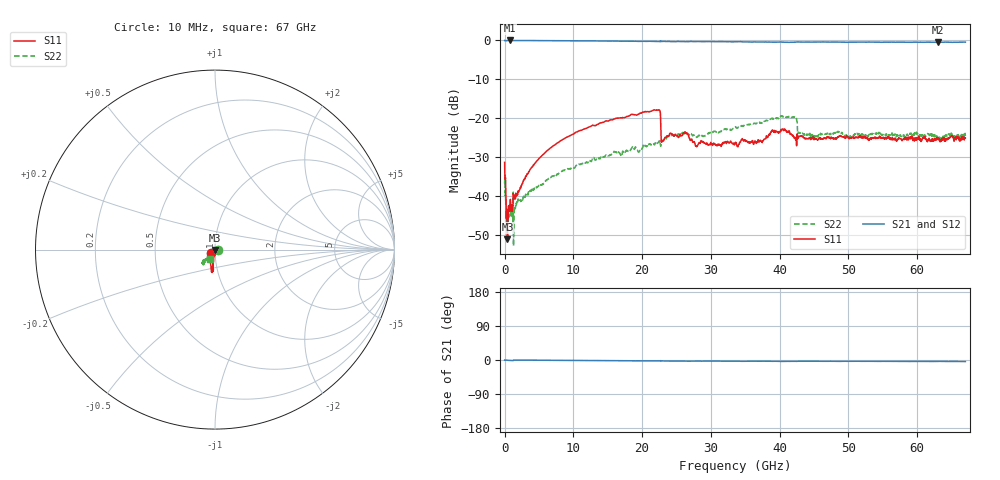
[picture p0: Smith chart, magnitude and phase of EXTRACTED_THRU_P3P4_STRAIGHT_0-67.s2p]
! Generated by Phase I extraction
# Hz S RI R 50
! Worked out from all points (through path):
!   1601 points, 10 MHz to 67 GHz, reference 50 ohm
!   highest |S21| = -0.01 dB at 847.4 MHz (marker M1); lowest = -0.5 dB at 63.06 GHz (marker M2)
!   lowest |S11| = -51.2 dB at 428.7 MHz (marker M3), VSWR 1.01, Z = 49.8 - j0.158 ohm
!   |S11| at or under -10 dB: start of sweep to end of sweep
!   |S22| runs from -52.9 to -19.4 dB; largest |S21 - S12| = 0.024
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1e7  -0.0211 -0.0168  0.9976 -0.00582  0.9942 0.0121  0.0142 -0.00225
4.286875e8  -0.00226 -0.00159  0.9977 -0.0108  0.9971 -0.000881  -0.00217 -0.00405
5.961625e8  -0.00648 -0.0035  0.9978 -0.0144  0.9977 -0.00164  -0.00469 -0.00464
8.47375e8  -0.00778 -0.00455  0.9984 -0.0198  0.9988 -0.00286  -0.00578 -0.00439
1.266062e9  -0.00677 -0.00834  0.9969 -0.0243  0.9959 -0.0082  -0.00669 -0.00892
1.977831e9  -0.00718 -0.00909  0.9969 -0.00568  0.9975 -0.00569  -0.0056 -0.00725
4.908644e9  -0.0074 -0.0286  0.9936 -0.0124  0.9939 -0.0126  -0.00594 -0.0119
1.118896e10  -0.0106 -0.0692  0.9865 -0.0259  0.9865 -0.0261  -0.0113 -0.0234
2.236791e10  -0.0169 -0.1268  0.9686 -0.0415  0.9689 -0.042  -0.0266 -0.0411
2.307968e10  -0.0255 -0.0448  0.9695 -0.0437  0.9697 -0.0439  -0.0258 -0.0453
2.630358e10  -0.0235 -0.0613  0.961 -0.0507  0.961 -0.0514  -0.0294 -0.0546
2.789459e10  -0.0169 -0.04  0.966 -0.0441  0.9659 -0.044  -0.0366 -0.0432
3.3505e10  -0.0164 -0.0438  0.9594 -0.0508  0.9595 -0.0516  -0.0533 -0.0549
3.731506e10  -0.0205 -0.0458  0.953 -0.0535  0.953 -0.0542  -0.0631 -0.0597
3.898981e10  -0.0228 -0.0664  0.9457 -0.0572  0.9456 -0.0586  -0.0626 -0.075
4.053895e10  -0.0235 -0.0663  0.9452 -0.06  0.9448 -0.0614  -0.0688 -0.0772
4.204622e10  -0.0175 -0.0552  0.9467 -0.057  0.944 -0.0584  -0.0718 -0.0721
4.292547e10  -0.0311 -0.0495  0.9517 -0.0558  0.9515 -0.0576  -0.0335 -0.0545
4.468396e10  -0.03 -0.0478  0.9495 -0.0541  0.9492 -0.0543  -0.0346 -0.051
5.586291e10  -0.0304 -0.0478  0.9458 -0.0587  0.9459 -0.0606  -0.0289 -0.0513
6.306434e10  -0.0294 -0.0436  0.9413 -0.0614  0.9413 -0.0622  -0.0257 -0.048
6.7e10  -0.0259 -0.0492  0.9474 -0.0673  0.9478 -0.068  -0.0255 -0.0532
